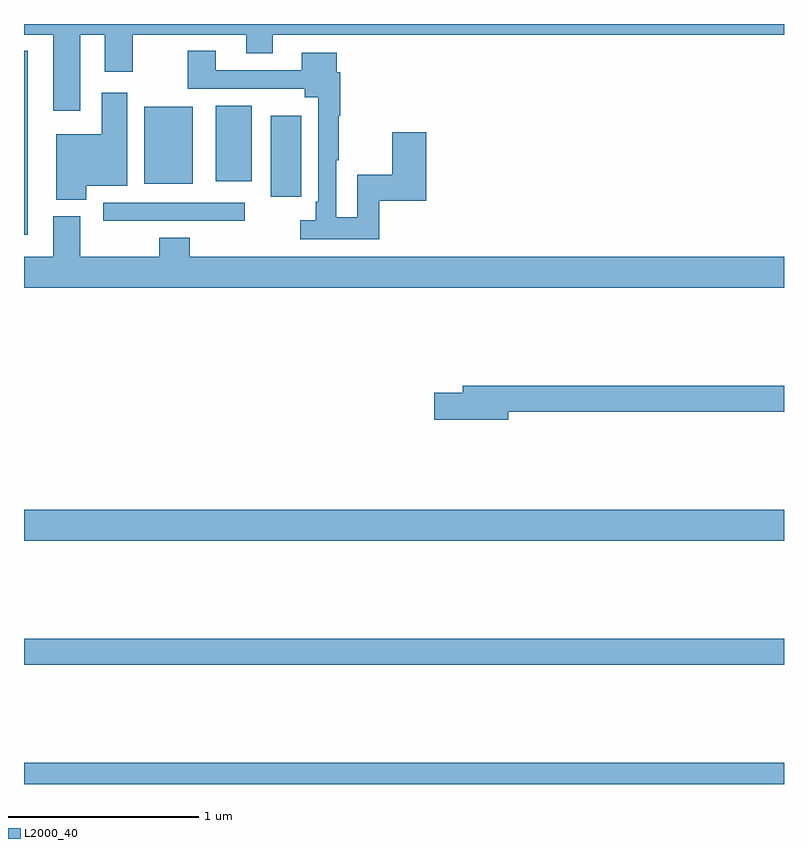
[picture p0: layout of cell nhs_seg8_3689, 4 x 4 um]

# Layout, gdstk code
import gdstk
lib = gdstk.Library(unit=1e-6, precision=1e-09)
def R(c, l, rs):  # rectangles x0, y0, x1, y1
    for r in rs: c.add(gdstk.rectangle(r[:2], r[2:], *l))
def P(c, l, *ps):  # polygons
    for p in ps: c.add(gdstk.Polygon(p, *l))
L2000_40 = (2000, 40)

nhs_seg8_3689 = lib.new_cell('nhs_seg8_3689')
R(nhs_seg8_3689, L2000_40, [(339,1101.9,343,1102.012), (339,1102.528,343,1102.664), (339,1103.18,343,1103.344), (339,1104.792,339.019,1105.759), (339.417,1104.864,340.162,1104.96), (340.298,1104.99,340.459,1105.417), (339.632,1105.058,339.889,1105.465), (340.01,1105.073,340.198,1105.471)])
P(nhs_seg8_3689, L2000_40, [(339.295,1105.844),(339.425,1105.844),(339.425,1105.65),(339.573,1105.65),(339.573,1105.844),(340.169,1105.844),(340.169,1105.745),(340.309,1105.745),(340.309,1105.844),(343,1105.844),(343,1105.9),(339,1105.9),(339,1105.844),(339.155,1105.844),(339.155,1105.443),(339.295,1105.443)],
  [(340.871,1104.97),(341.117,1104.97),(341.117,1105.33),(340.939,1105.33),(340.939,1105.106),(340.755,1105.106),(340.755,1104.884),(340.644,1104.884),(340.644,1105.183),(340.657,1105.183),(340.657,1105.418),(340.664,1105.418),(340.664,1105.646),(340.645,1105.646),(340.645,1105.75),(340.463,1105.75),(340.463,1105.656),(340.009,1105.656),(340.009,1105.759),(339.862,1105.759),(339.862,1105.56),(340.478,1105.56),(340.478,1105.514),(340.548,1105.514),(340.548,1104.964),(340.536,1104.964),(340.536,1104.868),(340.455,1104.868),(340.455,1104.768),(340.871,1104.768)],
  [(339.328,1105.049),(339.544,1105.049),(339.544,1105.537),(339.41,1105.537),(339.41,1105.321),(339.17,1105.321),(339.17,1104.974),(339.328,1104.974)],
  [(343,1104.676),(339.872,1104.676),(339.872,1104.775),(339.712,1104.775),(339.712,1104.676),(339.295,1104.676),(339.295,1104.889),(339.155,1104.889),(339.155,1104.676),(339,1104.676),(339,1104.512),(343,1104.512)],
  [(341.548,1103.86),(343,1103.86),(343,1103.996),(341.309,1103.996),(341.309,1103.96),(341.16,1103.96),(341.16,1103.818),(341.548,1103.818)])

lib.write_gds('nhs_seg8_3689.gds')
